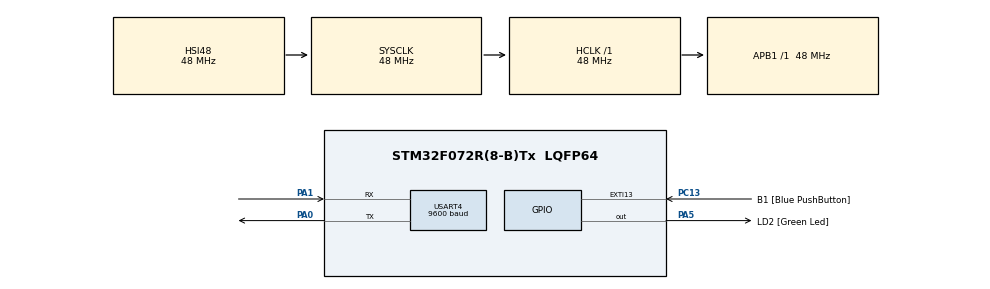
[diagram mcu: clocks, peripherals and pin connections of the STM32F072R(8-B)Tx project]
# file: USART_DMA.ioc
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Dma.Request0=USART4_RX
Dma.Request1=USART4_TX
Dma.USART4_RX.0.Direction=DMA_PERIPH_TO_MEMORY
Dma.USART4_RX.0.Instance=DMA1_Channel6
Dma.USART4_RX.0.MemDataAlignment=DMA_MDATAALIGN_BYTE
Dma.USART4_RX.0.MemInc=DMA_MINC_ENABLE
Dma.USART4_RX.0.Mode=DMA_NORMAL
Dma.USART4_RX.0.PeriphDataAlignment=DMA_PDATAALIGN_BYTE
Dma.USART4_RX.0.PeriphInc=DMA_PINC_DISABLE
Dma.USART4_RX.0.Priority=DMA_PRIORITY_LOW
Dma.USART4_TX.1.Direction=DMA_MEMORY_TO_PERIPH
Dma.USART4_TX.1.Instance=DMA1_Channel7
Dma.USART4_TX.1.MemDataAlignment=DMA_MDATAALIGN_BYTE
Dma.USART4_TX.1.MemInc=DMA_MINC_ENABLE
Dma.USART4_TX.1.Mode=DMA_NORMAL
Dma.USART4_TX.1.PeriphDataAlignment=DMA_PDATAALIGN_BYTE
Dma.USART4_TX.1.PeriphInc=DMA_PINC_DISABLE
Dma.USART4_TX.1.Priority=DMA_PRIORITY_LOW
Mcu.Family=STM32F0
Mcu.Name=STM32F072R(8-B)Tx
Mcu.Package=LQFP64
NVIC.DMA1_Channel4_5_6_7_IRQn=true\:0\:0\:false\:false\:true\:false\:true
NVIC.USART3_4_IRQn=true\:0\:0\:false\:false\:true\:true\:true
PA0.Mode=Asynchronous
PA0.Signal=USART4_TX
PA1.Mode=Asynchronous
PA1.Signal=USART4_RX
PA13.GPIO_Label=TMS
PA13.Mode=Serial_Wire
PA13.Signal=SYS_SWDIO
PA14.GPIO_Label=TCK
PA14.Mode=Serial_Wire
PA14.Signal=SYS_SWCLK
PA5.GPIO_Label=LD2 [Green Led]
PA5.GPIO_Mode=GPIO_MODE_OUTPUT_PP
PA5.GPIO_PuPd=GPIO_NOPULL
PA5.GPIO_Speed=GPIO_SPEED_FREQ_LOW
PA5.Signal=GPIO_Output
PC13.GPIO_Label=B1 [Blue PushButton]
PC13.GPIO_ModeDefaultEXTI=GPIO_MODE_IT_FALLING
PC13.Signal=GPXTI13
PC14-OSC32_IN.Mode=LSE-External-Oscillator
PC14-OSC32_IN.Signal=RCC_OSC32_IN
PC15-OSC32_OUT.Mode=LSE-External-Oscillator
PC15-OSC32_OUT.Signal=RCC_OSC32_OUT
PF0-OSC_IN.Mode=HSE-External-Clock-Source
PF0-OSC_IN.Signal=RCC_OSC_IN
PF1-OSC_OUT.Signal=RCC_OSC_OUT
ProjectManager.HeapSize=0x200
ProjectManager.StackSize=0x400
ProjectManager.TargetToolchain=MDK-ARM V5
RCC.AHBFreq_Value=48000000
RCC.APB1Freq_Value=48000000
RCC.APB1TimFreq_Value=48000000
RCC.FLatency-AdvancedSettings=FLASH_LATENCY_1
RCC.HCLKFreq_Value=48000000
RCC.PLLDivider=RCC_PREDIV_DIV2
RCC.PLLMUL=RCC_PLL_MUL12
RCC.PREFETCH_ENABLE-AdvancedSettings=1
RCC.SYSCLKFreq_VALUE=48000000
RCC.SYSCLKSource=RCC_SYSCLKSOURCE_HSI48
USART4.BaudRate=9600
USART4.VirtualMode-Asynchronous=VM_ASYNC
board=NUCLEO-F072RB

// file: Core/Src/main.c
/* USER CODE BEGIN Header */
/**
  ******************************************************************************
  * @file           : main.c
  * @brief          : Main program body
  ******************************************************************************
  * @attention
  *
  * <h2><center>&copy; Copyright (c) 2021 STMicroelectronics.
  * All rights reserved.</center></h2>
  *
  * This software component is licensed by ST under BSD 3-Clause license,
  * the "License"; You may not use this file except in compliance with the
  * License. You may obtain a copy of the License at:
  *                        opensource.org/licenses/BSD-3-Clause
  *
  ******************************************************************************
  */
/* USER CODE END Header */
#include "main.h"
#include "dma.h"
#include "usart.h"
#include "gpio.h"

/* USER CODE BEGIN Includes */
#include "stdio.h"
#include "string.h"

/* USER CODE END Includes */

/* USER CODE BEGIN PD */

#define RxBuf_SIZE   25
#define MainBuf_SIZE 25

char	TxBuffer[4]={0x12,0x34,0x56,0x78};
uint8_t	RxBuffer[RxBuf_SIZE],MainBuf[MainBuf_SIZE];
uint8_t RxData[RxBuf_SIZE];

char str[24];
int sayi=0;
uint16_t oldPos = 0;
uint16_t newPos = 0;

int isOK = 0;

extern DMA_HandleTypeDef hdma_usart4_rx;
extern DMA_HandleTypeDef hdma_usart4_tx;
/* USER CODE END PD */

void SystemClock_Config(void);

/* USER CODE BEGIN 0 */

void HAL_UARTEx_RxEventCallback(UART_HandleTypeDef *huart, uint16_t Size)
{
  if(huart->Instance == USART4)
  {
    HAL_UARTEx_ReceiveToIdle_DMA(&huart4, RxBuffer, RxBuf_SIZE);
		 __HAL_DMA_DISABLE_IT(&hdma_usart4_rx, DMA_IT_HT);
    for(int i=Size;i<RxBuf_SIZE;i++)
      RxBuffer[i]=0;
  }
}

/* USER CODE END 0 */

int main(void)
{

  /* MCU Configuration--------------------------------------------------------*/

  /* Reset of all peripherals, Initializes the Flash interface and the Systick. */
  HAL_Init();

  /* Configure the system clock */
  SystemClock_Config();

  /* Initialize all configured peripherals */
  MX_GPIO_Init();
  MX_DMA_Init();
  MX_USART4_UART_Init();
  /* USER CODE BEGIN 2 */
	HAL_UART_Transmit_DMA(&huart4,(uint8_t*)TxBuffer,sizeof(TxBuffer));
	//HAL_UART_Receive_DMA(&huart1,(uint8_t*)RxBuffer,6);

  HAL_UARTEx_ReceiveToIdle_DMA(&huart4, RxBuffer, RxBuf_SIZE);
  __HAL_DMA_DISABLE_IT(&hdma_usart4_rx, DMA_IT_HT);

  /* USER CODE END 2 */

  /* Infinite loop */
  while (1)
  {

    /* USER CODE BEGIN 3 */

//	HAL_UART_DMAStop(&huart2);
		sayi++;
		sprintf(str,"Sayi= %d\n",sayi);
		//HAL_UART_Transmit_DMA(&huart3,(uint8_t*)str,sizeof(str));
		HAL_UART_Transmit_DMA(&huart4,(uint8_t*)TxBuffer,sizeof(TxBuffer));
		HAL_Delay(1000);
	//USART1x.TxInProgress		= 1;
  }
  /* USER CODE END 3 */
}

void SystemClock_Config(void)
{
  RCC_OscInitTypeDef RCC_OscInitStruct = {0};
  RCC_ClkInitTypeDef RCC_ClkInitStruct = {0};

  /** Initializes the RCC Oscillators according to the specified parameters
  * in the RCC_OscInitTypeDef structure.
  */
  RCC_OscInitStruct.OscillatorType = RCC_OSCILLATORTYPE_HSI48;
  RCC_OscInitStruct.HSI48State = RCC_HSI48_ON;
  RCC_OscInitStruct.PLL.PLLState = RCC_PLL_NONE;
  if (HAL_RCC_OscConfig(&RCC_OscInitStruct) != HAL_OK)
  {
    Error_Handler();
  }
  /** Initializes the CPU, AHB and APB buses clocks
  */
  RCC_ClkInitStruct.ClockType = RCC_CLOCKTYPE_HCLK|RCC_CLOCKTYPE_SYSCLK
                              |RCC_CLOCKTYPE_PCLK1;
  RCC_ClkInitStruct.SYSCLKSource = RCC_SYSCLKSOURCE_HSI48;
  RCC_ClkInitStruct.AHBCLKDivider = RCC_SYSCLK_DIV1;
  RCC_ClkInitStruct.APB1CLKDivider = RCC_HCLK_DIV1;

  if (HAL_RCC_ClockConfig(&RCC_ClkInitStruct, FLASH_LATENCY_1) != HAL_OK)
  {
    Error_Handler();
  }
}

void Error_Handler(void)
{
  __disable_irq();
  while (1)
  {
  }
}
